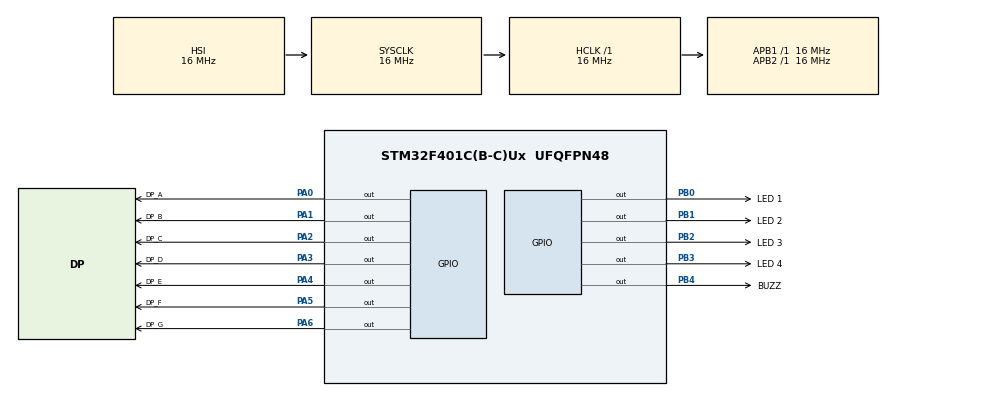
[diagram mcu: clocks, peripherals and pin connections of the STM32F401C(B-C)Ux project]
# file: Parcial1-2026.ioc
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Mcu.Family=STM32F4
Mcu.Name=STM32F401C(B-C)Ux
Mcu.Package=UFQFPN48
NVIC.PriorityGroup=NVIC_PRIORITYGROUP_4
PA0-WKUP.GPIO_Label=DP_A
PA0-WKUP.Signal=GPIO_Output
PA1.GPIO_Label=DP_B
PA1.Signal=GPIO_Output
PA2.GPIO_Label=DP_C
PA2.Signal=GPIO_Output
PA3.GPIO_Label=DP_D
PA3.Signal=GPIO_Output
PA4.GPIO_Label=DP_E
PA4.Signal=GPIO_Output
PA5.GPIO_Label=DP_F
PA5.Signal=GPIO_Output
PA6.GPIO_Label=DP_G
PA6.Signal=GPIO_Output
PB0.GPIO_Label=LED 1
PB0.Signal=GPIO_Output
PB1.GPIO_Label=LED 2
PB1.Signal=GPIO_Output
PB2.GPIO_Label=LED 3
PB2.Signal=GPIO_Output
PB3.GPIO_Label=LED 4
PB3.Signal=GPIO_Output
PB4.GPIO_Label=BUZZ
PB4.Signal=GPIO_Output
ProjectManager.HeapSize=0x200
ProjectManager.StackSize=0x400
ProjectManager.TargetToolchain=CMake
RCC.AHBFreq_Value=16000000
RCC.APB1Freq_Value=16000000
RCC.APB2Freq_Value=16000000
RCC.CortexFreq_Value=16000000
RCC.HSE_VALUE=25000000
RCC.HSI_VALUE=16000000
RCC.LSE_VALUE=32768
RCC.SYSCLKFreq_VALUE=16000000
RCC.VCOOutputFreq_Value=192000000
board=custom

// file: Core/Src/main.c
/* USER CODE BEGIN Header */
/**
  ******************************************************************************
  * @file           : main.c
  * @brief          : Main program body
  ******************************************************************************
  * @attention
  *
  * Copyright (c) 2026 STMicroelectronics.
  * All rights reserved.
  *
  * This software is licensed under terms that can be found in the LICENSE file
  * in the root directory of this software component.
  * If no LICENSE file comes with this software, it is provided AS-IS.
  *
  ******************************************************************************
  */
/* USER CODE END Header */
#include "main.h"

/* USER CODE BEGIN PD */
#define NOTE_C4  262
#define NOTE_D4  294
#define NOTE_E4  330
#define NOTE_F4  349
#define NOTE_G4  392
#define NOTE_A4  440
#define NOTE_B4  494
#define NOTE_C5  523
/* USER CODE END PD */

/* USER CODE BEGIN PV */
// Mapa de 7 segmentos para Cátodo Común (A, B, C, D, E, F, G)
// 1 = Segmento ENCENDIDO, 0 = Segmento APAGADO
const uint8_t digitos_7seg[10] = {
    0b00111111, // 0 -> A, B, C, D, E, F
    0b00000110, // 1 -> B, C
    0b01011011, // 2 -> A, B, D, E, G
    0b01001111, // 3 -> A, B, C, D, G
    0b01100110, // 4 -> B, C, F, G
    0b01101101, // 5 -> A, C, D, F, G
    0b01111101, // 6 -> A, C, D, E, F, G
    0b00000111, // 7 -> A, B, C
    0b01111111, // 8 -> A, B, C, D, E, F, G
    0b01101111  // 9 -> A, B, C, D, F, G
};

uint8_t contador = 0;
/* USER CODE END PV */

void SystemClock_Config(void);
static void MX_GPIO_Init(void);
/* USER CODE BEGIN PFP */
void Display_SecuenciaHola(uint16_t retardo);
void Display_Conteo0a9(uint16_t retardo);
void Display_ConteoPrimos(uint16_t retardo);
void Display_EfectoCulebrita(uint8_t vueltas, uint16_t retardo);

void Display_Apagar(void);

void Luces_Apagar(void);
void Luces_AutoFantastico(uint8_t pasadas, uint16_t retardo);
void Luces_Parpadeo(uint8_t veces, uint16_t retardo);
void Luces_Alternado(uint8_t ciclos, uint16_t retardo);
void Luces_MarquesinaSecuencial(uint8_t vueltas, uint16_t retardo);

void Buzzer_Tono(uint16_t frecuencia, uint16_t duracion_ms);
void Buzzer_MelodiaMario(void);
/* USER CODE END PFP */

int main(void)
{

  /* MCU Configuration--------------------------------------------------------*/

  /* Reset of all peripherals, Initializes the Flash interface and the Systick. */
  HAL_Init();

  /* Configure the system clock */
  SystemClock_Config();

  /* Initialize all configured peripherals */
  MX_GPIO_Init();
  /* USER CODE BEGIN 2 */
    // Proceso 7: Luces alternadas
    Luces_Alternado(5, 300);
    HAL_Delay(1000);

    // Proceso 8: Marquesina secuencial
    Luces_MarquesinaSecuencial(3, 300);
    HAL_Delay(1000);
  /* USER CODE END 2 */

 /* Infinite loop */
  /* USER CODE BEGIN WHILE */
  while (1)
  {
      //===== PROCEDIMIENTOS DE 7 SEGMENTOS (4 llamadas) =====

      // 1. Display: HOLA
      Display_SecuenciaHola(700);
      Display_Apagar();
      HAL_Delay(1000);

      // 2. Display: Conteo 0 a 9
      Display_Conteo0a9(1000);
      Display_Apagar();
      HAL_Delay(1000);

      // 3. Display: Primos (1ª Ejecución)
      Display_ConteoPrimos(700);
      Display_Apagar();
      HAL_Delay(1000);

      // 4. Display: Culebrita -> [PARÁMETROS: 4 vueltas, 100ms]
      Display_EfectoCulebrita(4, 100);
      Display_Apagar();
      HAL_Delay(1000);

      //===== PROCEDIMIENTOS LUCES LED (2 llamadas) =====

      // 5. LEDS: Auto Fantástico -> [PARÁMETROS: 2 pasadas, 100ms]
      Luces_AutoFantastico(2, 100);
      HAL_Delay(1500);

      // 6. LEDS: Auto Fantástico REPETIDO -> [PARÁMETROS: 4 pasadas, 50ms - Más rápido]
      Luces_AutoFantastico(4, 50);
      HAL_Delay(2000);

    // Reproducir la melodía de Mario
      Buzzer_MelodiaMario();
      HAL_Delay(2000);

    /* USER CODE END WHILE */

  }
}

void SystemClock_Config(void)
{
  RCC_OscInitTypeDef RCC_OscInitStruct = {0};
  RCC_ClkInitTypeDef RCC_ClkInitStruct = {0};

  /** Configure the main internal regulator output voltage
  */
  __HAL_RCC_PWR_CLK_ENABLE();
  __HAL_PWR_VOLTAGESCALING_CONFIG(PWR_REGULATOR_VOLTAGE_SCALE2);

  /** Initializes the RCC Oscillators according to the specified parameters
  * in the RCC_OscInitTypeDef structure.
  */
  RCC_OscInitStruct.OscillatorType = RCC_OSCILLATORTYPE_HSI;
  RCC_OscInitStruct.HSIState = RCC_HSI_ON;
  RCC_OscInitStruct.HSICalibrationValue = RCC_HSICALIBRATION_DEFAULT;
  RCC_OscInitStruct.PLL.PLLState = RCC_PLL_NONE;
  if (HAL_RCC_OscConfig(&RCC_OscInitStruct) != HAL_OK)
  {
    Error_Handler();
  }

  /** Initializes the CPU, AHB and APB buses clocks
  */
  RCC_ClkInitStruct.ClockType = RCC_CLOCKTYPE_HCLK|RCC_CLOCKTYPE_SYSCLK
                              |RCC_CLOCKTYPE_PCLK1|RCC_CLOCKTYPE_PCLK2;
  RCC_ClkInitStruct.SYSCLKSource = RCC_SYSCLKSOURCE_HSI;
  RCC_ClkInitStruct.AHBCLKDivider = RCC_SYSCLK_DIV1;
  RCC_ClkInitStruct.APB1CLKDivider = RCC_HCLK_DIV1;
  RCC_ClkInitStruct.APB2CLKDivider = RCC_HCLK_DIV1;

  if (HAL_RCC_ClockConfig(&RCC_ClkInitStruct, FLASH_LATENCY_0) != HAL_OK)
  {
    Error_Handler();
  }
}

static void MX_GPIO_Init(void)
{
  GPIO_InitTypeDef GPIO_InitStruct = {0};

  /* GPIO Ports Clock Enable */
  __HAL_RCC_GPIOA_CLK_ENABLE();
  __HAL_RCC_GPIOB_CLK_ENABLE();

  /*Configure GPIO pin Output Level */
  HAL_GPIO_WritePin(GPIOA, DP_A_Pin|DP_B_Pin|DP_C_Pin|DP_D_Pin
                          |DP_E_Pin|DP_F_Pin|DP_G_Pin, GPIO_PIN_RESET);

  /*Configure GPIO pin Output Level */
  HAL_GPIO_WritePin(GPIOB, LED_1_Pin|LED_2_Pin|LED_3_Pin|LED_4_Pin
                          |BUZZ_Pin, GPIO_PIN_RESET);

  /*Configure GPIO pins : DP_A_Pin DP_B_Pin DP_C_Pin DP_D_Pin
                           DP_E_Pin DP_F_Pin DP_G_Pin */
  GPIO_InitStruct.Pin = DP_A_Pin|DP_B_Pin|DP_C_Pin|DP_D_Pin
                          |DP_E_Pin|DP_F_Pin|DP_G_Pin;
  GPIO_InitStruct.Mode = GPIO_MODE_OUTPUT_PP;
  GPIO_InitStruct.Pull = GPIO_NOPULL;
  GPIO_InitStruct.Speed = GPIO_SPEED_FREQ_LOW;
  HAL_GPIO_Init(GPIOA, &GPIO_InitStruct);

  /*Configure GPIO pins : LED_1_Pin LED_2_Pin LED_3_Pin LED_4_Pin
                           BUZZ_Pin */
  GPIO_InitStruct.Pin = LED_1_Pin|LED_2_Pin|LED_3_Pin|LED_4_Pin
                          |BUZZ_Pin;
  GPIO_InitStruct.Mode = GPIO_MODE_OUTPUT_PP;
  GPIO_InitStruct.Pull = GPIO_NOPULL;
  GPIO_InitStruct.Speed = GPIO_SPEED_FREQ_LOW;
  HAL_GPIO_Init(GPIOB, &GPIO_InitStruct);

}

/* USER CODE BEGIN 4 */

// Procedimiento 1: Muestra 'H' -> 'O' -> 'L' -> 'A'
void Display_SecuenciaHola(uint16_t retardo) {
    uint8_t hola[4] = {
        0b01110110, // H
        0b00111111, // O
        0b00111000, // L
        0b01110111  // A
    };

    for (int k = 0; k < 4; k++) {
        uint8_t patron = hola[k];
        HAL_GPIO_WritePin(GPIOA, DP_A_Pin, (patron & (1 << 0)) ? GPIO_PIN_SET : GPIO_PIN_RESET);
        HAL_GPIO_WritePin(GPIOA, DP_B_Pin, (patron & (1 << 1)) ? GPIO_PIN_SET : GPIO_PIN_RESET);
        HAL_GPIO_WritePin(GPIOA, DP_C_Pin, (patron & (1 << 2)) ? GPIO_PIN_SET : GPIO_PIN_RESET);
        HAL_GPIO_WritePin(GPIOA, DP_D_Pin, (patron & (1 << 3)) ? GPIO_PIN_SET : GPIO_PIN_RESET);
        HAL_GPIO_WritePin(GPIOA, DP_E_Pin, (patron & (1 << 4)) ? GPIO_PIN_SET : GPIO_PIN_RESET);
        HAL_GPIO_WritePin(GPIOA, DP_F_Pin, (patron & (1 << 5)) ? GPIO_PIN_SET : GPIO_PIN_RESET);
        HAL_GPIO_WritePin(GPIOA, DP_G_Pin, (patron & (1 << 6)) ? GPIO_PIN_SET : GPIO_PIN_RESET);
        HAL_Delay(retardo);
    }
}

// Procedimiento 2: Conteo incremental de 0 a 9
void Display_Conteo0a9(uint16_t retardo) {
    for (uint8_t i = 0; i <= 9; i++) {
        uint8_t patron = digitos_7seg[i];

        HAL_GPIO_WritePin(GPIOA, DP_A_Pin, (patron & (1 << 0)) ? GPIO_PIN_SET : GPIO_PIN_RESET);
        HAL_GPIO_WritePin(GPIOA, DP_B_Pin, (patron & (1 << 1)) ? GPIO_PIN_SET : GPIO_PIN_RESET);
        HAL_GPIO_WritePin(GPIOA, DP_C_Pin, (patron & (1 << 2)) ? GPIO_PIN_SET : GPIO_PIN_RESET);
        HAL_GPIO_WritePin(GPIOA, DP_D_Pin, (patron & (1 << 3)) ? GPIO_PIN_SET : GPIO_PIN_RESET);
        HAL_GPIO_WritePin(GPIOA, DP_E_Pin, (patron & (1 << 4)) ? GPIO_PIN_SET : GPIO_PIN_RESET);
        HAL_GPIO_WritePin(GPIOA, DP_F_Pin, (patron & (1 << 5)) ? GPIO_PIN_SET : GPIO_PIN_RESET);
        HAL_GPIO_WritePin(GPIOA, DP_G_Pin, (patron & (1 << 6)) ? GPIO_PIN_SET : GPIO_PIN_RESET);
        HAL_Delay(retardo);
    }
}

// Procedimiento 3: Muestra solo números primos (2, 3, 5, 7)
void Display_ConteoPrimos(uint16_t retardo) {
    uint8_t primos[4] = {2, 3, 5, 7};

    for (int i = 0; i < 4; i++) {
        uint8_t patron = digitos_7seg[primos[i]];

        HAL_GPIO_WritePin(GPIOA, DP_A_Pin, (patron & (1 << 0)) ? GPIO_PIN_SET : GPIO_PIN_RESET);
        HAL_GPIO_WritePin(GPIOA, DP_B_Pin, (patron & (1 << 1)) ? GPIO_PIN_SET : GPIO_PIN_RESET);
        HAL_GPIO_WritePin(GPIOA, DP_C_Pin, (patron & (1 << 2)) ? GPIO_PIN_SET : GPIO_PIN_RESET);
        HAL_GPIO_WritePin(GPIOA, DP_D_Pin, (patron & (1 << 3)) ? GPIO_PIN_SET : GPIO_PIN_RESET);
        HAL_GPIO_WritePin(GPIOA, DP_E_Pin, (patron & (1 << 4)) ? GPIO_PIN_SET : GPIO_PIN_RESET);
        HAL_GPIO_WritePin(GPIOA, DP_F_Pin, (patron & (1 << 5)) ? GPIO_PIN_SET : GPIO_PIN_RESET);
        HAL_GPIO_WritePin(GPIOA, DP_G_Pin, (patron & (1 << 6)) ? GPIO_PIN_SET : GPIO_PIN_RESET);
        HAL_Delay(retardo);
    }
}

// Procedimiento 4 (Con Parámetros): Culebrita fluida con cuerpo de 2 segmentos
void Display_EfectoCulebrita(uint8_t vueltas, uint16_t retardo) {
    // Secuencia de pines formando el recorrido en "8" o infinito: A -> B -> G -> E -> D -> C -> G -> F
    uint16_t secuencia_pines[8] = {
        DP_A_Pin, DP_B_Pin, DP_G_Pin, DP_E_Pin,
        DP_D_Pin, DP_C_Pin, DP_G_Pin, DP_F_Pin
    };

    // Apagar todos los segmentos antes de iniciar
    HAL_GPIO_WritePin(GPIOA, DP_A_Pin|DP_B_Pin|DP_C_Pin|DP_D_Pin|DP_E_Pin|DP_F_Pin|DP_G_Pin, GPIO_PIN_RESET);

    for (uint8_t v = 0; v < vueltas; v++) {
        for (int i = 0; i < 8; i++) {
            // Segmento actual (Cabeza de la serpiente)
            uint16_t cabeza = secuencia_pines[i];

            // Segmento anterior (Cola de la serpiente)
            uint16_t cola = secuencia_pines[(i == 0) ? 7 : (i - 1)];

            // 1. Encender la cabeza (mantiene la cola prendida para dar fluidez)
            HAL_GPIO_WritePin(GPIOA, cabeza, GPIO_PIN_SET);
            HAL_Delay(retardo);

            // 2. Apagar la cola para que avance
            HAL_GPIO_WritePin(GPIOA, cola, GPIO_PIN_RESET);
        }
    }

    // Apagar el display al finalizar el efecto
    HAL_GPIO_WritePin(GPIOA, DP_A_Pin|DP_B_Pin|DP_C_Pin|DP_D_Pin|DP_E_Pin|DP_F_Pin|DP_G_Pin, GPIO_PIN_RESET);
}

// Procedimiento Auxiliar: Apaga absolutamente todos los segmentos del display
void Display_Apagar(void) {
    HAL_GPIO_WritePin(GPIOA, DP_A_Pin | DP_B_Pin | DP_C_Pin | DP_D_Pin |
                             DP_E_Pin | DP_F_Pin | DP_G_Pin, GPIO_PIN_RESET);
}

// Procedimiento Auxiliar: Apaga los 4 LEDs
void Luces_Apagar(void) {
    HAL_GPIO_WritePin(GPIOB, LED_1_Pin | LED_2_Pin | LED_3_Pin | LED_4_Pin, GPIO_PIN_RESET);
}

// Procedimiento 5 (Con Parámetros): Secuencia de ida y vuelta (Auto Fantástico)
void Luces_AutoFantastico(uint8_t pasadas, uint16_t retardo) {
    uint16_t leds[4] = {LED_1_Pin, LED_2_Pin, LED_3_Pin, LED_4_Pin};

    Luces_Apagar();

    for (uint8_t p = 0; p < pasadas; p++) {
        // Ida: LED 1 -> LED 4
        for (int8_t i = 0; i < 4; i++) {
            HAL_GPIO_WritePin(GPIOB, leds[i], GPIO_PIN_SET);
            HAL_Delay(retardo);
            HAL_GPIO_WritePin(GPIOB, leds[i], GPIO_PIN_RESET);
        }

        // Vuelta: LED 3 -> LED 2
        for (int8_t i = 2; i >= 1; i--) {
            HAL_GPIO_WritePin(GPIOB, leds[i], GPIO_PIN_SET);
            HAL_Delay(retardo);
            HAL_GPIO_WritePin(GPIOB, leds[i], GPIO_PIN_RESET);
        }
    }

    Luces_Apagar();
}
// Procedimiento 6: Parpadeo simultáneo de los 4 LEDs
void Luces_Parpadeo(uint8_t veces, uint16_t retardo) {
    for (uint8_t i = 0; i < veces; i++) {
        HAL_GPIO_WritePin(GPIOB, LED_1_Pin | LED_2_Pin | LED_3_Pin | LED_4_Pin, GPIO_PIN_SET);
        HAL_Delay(retardo);
        HAL_GPIO_WritePin(GPIOB, LED_1_Pin | LED_2_Pin | LED_3_Pin | LED_4_Pin, GPIO_PIN_RESET);
        HAL_Delay(retardo);
    }

    Luces_Apagar();
}

// Procedimiento 7 (Fuera del while - Con Parámetros): Alternado entre impares (LED 1 y 3) y pares (LED 2 y 4)
void Luces_Alternado(uint8_t ciclos, uint16_t retardo)
{
    for (uint8_t c = 0; c < ciclos; c++)
    {
        HAL_GPIO_WritePin(GPIOB, LED_1_Pin | LED_3_Pin, GPIO_PIN_SET);
        HAL_GPIO_WritePin(GPIOB, LED_2_Pin | LED_4_Pin, GPIO_PIN_RESET);
        HAL_Delay(retardo);

        Luces_Apagar();
        HAL_Delay(retardo / 2);

        HAL_GPIO_WritePin(GPIOB, LED_2_Pin | LED_4_Pin, GPIO_PIN_SET);
        HAL_GPIO_WritePin(GPIOB, LED_1_Pin | LED_3_Pin, GPIO_PIN_RESET);
        HAL_Delay(retardo);

        Luces_Apagar();
        HAL_Delay(retardo / 2);
    }

    Luces_Apagar();
}

// Procedimiento 8 (Fuera del while - Con Parámetros): Llenado progresivo de los 4 LEDs de izquierda a derecha
void Luces_MarquesinaSecuencial(uint8_t vueltas, uint16_t retardo)
{
    uint16_t leds[4] = {
        LED_1_Pin,
        LED_2_Pin,
        LED_3_Pin,
        LED_4_Pin
    };

    for (uint8_t v = 0; v < vueltas; v++)
    {
        Luces_Apagar();

        for (int i = 0; i < 4; i++)
        {
            HAL_GPIO_WritePin(GPIOB, leds[i], GPIO_PIN_SET);
            HAL_Delay(retardo);
        }

        HAL_Delay(retardo);
        Luces_Apagar();
        HAL_Delay(retardo);
    }

    Luces_Apagar();
}

// Genera una frecuencia en el pin BUZZ
void Buzzer_Tono(uint16_t frecuencia, uint16_t duracion_ms) {
    if (frecuencia == 0) {
        HAL_Delay(duracion_ms);
        return;
    }

    // Calcular el periodo en microsegundos (1,000,000 / frecuencia)
    uint32_t periodo_us = 1000000 / frecuencia;
    uint32_t medio_periodo = periodo_us / 2;

    // Calcular cuántos ciclos se ejecutan durante la duración deseada
    uint32_t ciclos = ((uint32_t)frecuencia * duracion_ms) / 1000;

    for (uint32_t i = 0; i < ciclos; i++) {
        HAL_GPIO_WritePin(GPIOB, BUZZ_Pin, GPIO_PIN_SET);
        for(volatile int d = 0; d < medio_periodo * 8; d++) { __NOP(); }

        HAL_GPIO_WritePin(GPIOB, BUZZ_Pin, GPIO_PIN_RESET);
        for(volatile int d = 0; d < medio_periodo * 8; d++) { __NOP(); }
    }
}

// Procedimiento de la Melodía de Mario
void Buzzer_MelodiaMario(void) {
    uint16_t melodia[] = {
        NOTE_E4, NOTE_E4, 0, NOTE_E4, 0, NOTE_C4, NOTE_E4, 0, NOTE_G4, 0, NOTE_C4
    };

    uint16_t duraciones[] = {
        150, 150, 100, 150, 100, 150, 150, 100, 300, 300, 300
    };

    uint8_t total_notas = sizeof(melodia) / sizeof(melodia[0]);

    for (uint8_t i = 0; i < total_notas; i++) {
        Buzzer_Tono(melodia[i], duraciones[i]);
        HAL_Delay(40); // Pausa breve entre notas
    }

    HAL_GPIO_WritePin(BUZZ_GPIO_Port, BUZZ_Pin, GPIO_PIN_RESET);
}

/* USER CODE END 4 */

void Error_Handler(void)
{
  __disable_irq();
  while (1)
  {
  }
}
